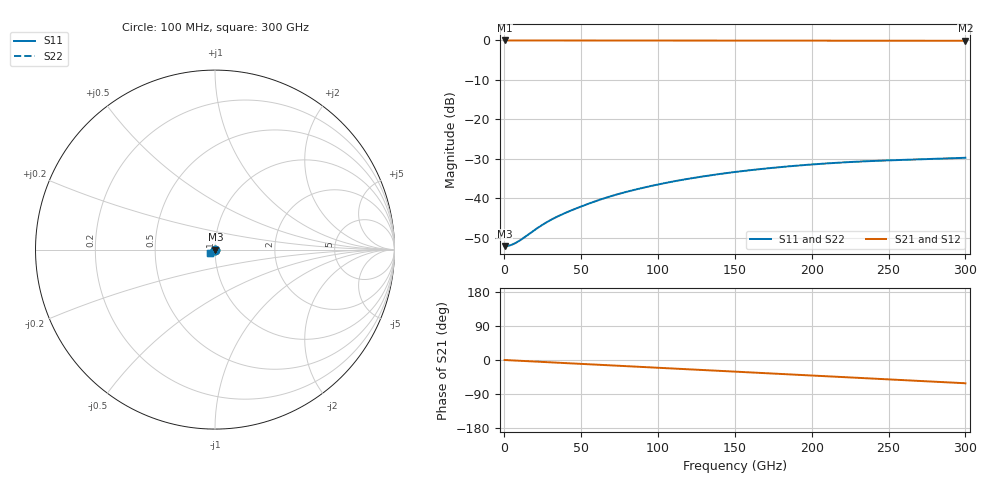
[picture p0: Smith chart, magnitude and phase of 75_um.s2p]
#  Hz  S  RI  R  50
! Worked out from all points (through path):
!   3000 points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, 100 MHz to 300 GHz, reference 50 ohm
!   highest |S21| = -0.02 dB at 100 MHz (marker M1); lowest = -0.1 dB at 300 GHz (marker M2)
!   group delay of S21, straight-line fit = 568 fs
!   lowest |S11| = -52.2 dB at 100 MHz (marker M3), VSWR 1.00, Z = 50.2 - j0.000672 ohm
!   |S11| at or under -10 dB: start of sweep to end of sweep
!   |S22| runs from -52.2 to -29.8 dB; largest |S21 - S12| = 0.00015
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1e8  0.00246 -6.68e-06  0.9976 -0.000368  0.9976 -0.000368  0.00245 -6.53e-06
3.5e9  0.0025 -0.000241  0.9975 -0.0129  0.9975 -0.0129  0.0025 -0.000236
7.1e9  0.00264 -0.000533  0.997 -0.026  0.997 -0.026  0.00263 -0.000525
1.14e10  0.00286 -0.000984  0.9961 -0.0415  0.9961 -0.0415  0.00287 -0.000976
2.24e10  0.00335 -0.00268  0.993 -0.0805  0.993 -0.0805  0.00336 -0.00268
2.89e10  0.00338 -0.00386  0.9908 -0.1034  0.9908 -0.1034  0.00338 -0.00386
3.79e10  0.00316 -0.00542  0.9868 -0.1351  0.9868 -0.1351  0.00315 -0.00542
5.01e10  0.00267 -0.00739  0.9797 -0.1778  0.9797 -0.1778  0.00268 -0.00739
6.16e10  0.00207 -0.00925  0.9713 -0.2176  0.9713 -0.2176  0.00207 -0.00925
7.25e10  0.00127 -0.011  0.962 -0.2551  0.962 -0.2551  0.00127 -0.011
8.52e10  0.000132 -0.0128  0.9492 -0.2983  0.9492 -0.2983  0.000133 -0.0128
1.001e11  -0.00143 -0.0148  0.9318 -0.348  0.9318 -0.348  -0.00142 -0.0148
1.113e11  -0.00278 -0.0162  0.9171 -0.3848  0.9171 -0.3848  -0.00278 -0.0162
1.231e11  -0.00434 -0.0175  0.8999 -0.4229  0.8999 -0.4229  -0.00434 -0.0175
1.367e11  -0.00626 -0.0188  0.8782 -0.4659  0.8782 -0.4659  -0.00626 -0.0188
1.501e11  -0.00829 -0.0198  0.8548 -0.5072  0.8548 -0.5072  -0.00829 -0.0198
1.751e11  -0.0122 -0.021  0.8058 -0.5809  0.8058 -0.5809  -0.0122 -0.021
2.001e11  -0.0162 -0.0212  0.7504 -0.6501  0.7504 -0.6501  -0.0162 -0.0212
2.251e11  -0.0199 -0.0206  0.6889 -0.7141  0.6888 -0.7141  -0.0199 -0.0206
2.501e11  -0.0231 -0.0193  0.6216 -0.772  0.6216 -0.772  -0.0231 -0.0194
2.743e11  -0.0255 -0.018  0.5516 -0.8215  0.5516 -0.8215  -0.0255 -0.018
3e11  -0.028 -0.0165  0.4734 -0.8671  0.4733 -0.867  -0.028 -0.0164
